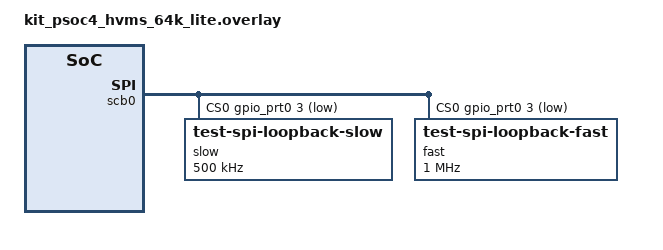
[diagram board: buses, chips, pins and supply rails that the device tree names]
/*
 * SPDX-FileCopyrightText: Copyright (c) 2026 Infineon Technologies AG,
 * SPDX-FileCopyrightText: or an affiliate of Infineon Technologies AG. All rights reserved.
 *
 * SPDX-License-Identifier: Apache-2.0
 */

spi: &scb0 {
	compatible = "infineon,spi";
	status = "okay";

	#address-cells = <1>;
	#size-cells = <0>;

	clocks = <&peri_clk_div2>;
	pinctrl-0 = <&p0_0_scb0_spi_clk &p0_1_scb0_spi_mosi &p0_2_scb0_spi_miso>;
	pinctrl-names = "default";
	cs-gpios = <&gpio_prt0 3 GPIO_ACTIVE_LOW>;

	slow@0 {
		compatible = "test-spi-loopback-slow";
		reg = <0>;
		spi-max-frequency = <500000>;
	};

	fast@0 {
		compatible = "test-spi-loopback-fast";
		reg = <0>;
		spi-max-frequency = <1000000>;
	};
};

&peri_clk_div2 {
	status = "okay";
};

&p0_0_scb0_spi_clk {
	drive-push-pull;
};

&p0_1_scb0_spi_mosi {
	drive-push-pull;
};

&p0_2_scb0_spi_miso {
	input-enable;
};
